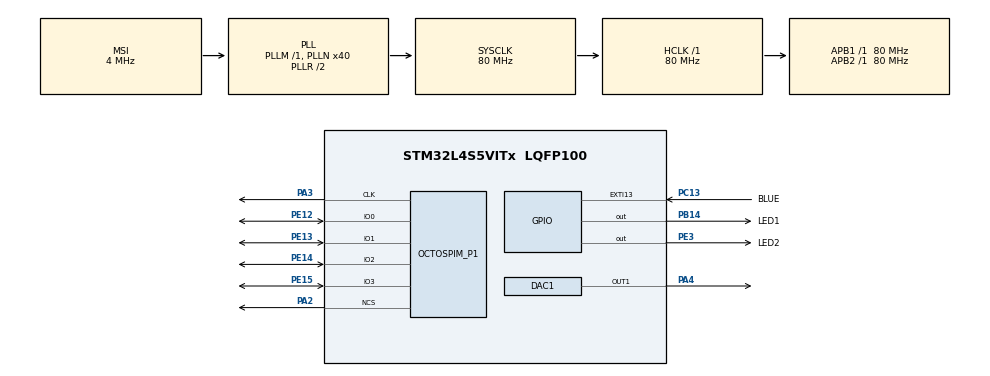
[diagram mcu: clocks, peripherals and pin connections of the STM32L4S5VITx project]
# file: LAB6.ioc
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DAC1.DAC_Trigger-DAC_OUT1=DAC_TRIGGER_T2_TRGO
Dma.DAC1_CH1.0.Direction=DMA_MEMORY_TO_PERIPH
Dma.DAC1_CH1.0.EventEnable=DISABLE
Dma.DAC1_CH1.0.Instance=DMA1_Channel1
Dma.DAC1_CH1.0.MemDataAlignment=DMA_MDATAALIGN_BYTE
Dma.DAC1_CH1.0.MemInc=DMA_MINC_ENABLE
Dma.DAC1_CH1.0.Mode=DMA_NORMAL
Dma.DAC1_CH1.0.PeriphDataAlignment=DMA_PDATAALIGN_BYTE
Dma.DAC1_CH1.0.PeriphInc=DMA_PINC_DISABLE
Dma.DAC1_CH1.0.Polarity=HAL_DMAMUX_REQUEST_GEN_RISING
Dma.DAC1_CH1.0.Priority=DMA_PRIORITY_LOW
Dma.DAC1_CH1.0.RequestNumber=1
Dma.DAC1_CH1.0.SignalID=NONE
Dma.DAC1_CH1.0.SyncEnable=DISABLE
Dma.DAC1_CH1.0.SyncPolarity=HAL_DMAMUX_SYNC_NO_EVENT
Dma.DAC1_CH1.0.SyncRequestNumber=1
Dma.DAC1_CH1.0.SyncSignalID=NONE
Dma.Request0=DAC1_CH1
Mcu.Family=STM32L4
Mcu.Name=STM32L4S5VITx
Mcu.Package=LQFP100
NVIC.DMA1_Channel1_IRQn=true\:0\:0\:false\:false\:true\:false\:true\:true
NVIC.EXTI15_10_IRQn=true\:0\:0\:false\:false\:true\:true\:true\:true
NVIC.PriorityGroup=NVIC_PRIORITYGROUP_4
NVIC.TIM2_IRQn=true\:0\:0\:false\:false\:true\:true\:true\:true
OCTOSPI1.MemoryType=HAL_OSPI_MEMTYPE_MACRONIX
PA13\ (JTMS/SWDIO).Signal=SYS_JTMS-SWDIO
PA2.Mode=OCTOSPI1_Port1_NCS
PA2.Signal=OCTOSPIM_P1_NCS
PA3.Mode=O1_P1_CLK
PA3.Signal=OCTOSPIM_P1_CLK
PA4.Signal=COMP_DAC11_group
PB14.GPIO_Label=LED1
PB14.Signal=GPIO_Output
PB3\ (JTDO/TRACESWO).Signal=SYS_JTDO-SWO
PC13.GPIO_Label=BLUE
PC13.Signal=GPXTI13
PE12.Mode=OCTOSPI1_IOL_Port1L
PE12.Signal=OCTOSPIM_P1_IO0
PE13.Mode=OCTOSPI1_IOL_Port1L
PE13.Signal=OCTOSPIM_P1_IO1
PE14.Mode=OCTOSPI1_IOL_Port1L
PE14.Signal=OCTOSPIM_P1_IO2
PE15.Mode=OCTOSPI1_IOL_Port1L
PE15.Signal=OCTOSPIM_P1_IO3
PE3.GPIO_Label=LED2
PE3.Signal=GPIO_Output
ProjectManager.HeapSize=0x200
ProjectManager.StackSize=0x400
ProjectManager.TargetToolchain=STM32CubeIDE
RCC.ADCFreq_Value=48000000
RCC.AHBFreq_Value=80000000
RCC.APB1Freq_Value=80000000
RCC.APB1TimFreq_Value=80000000
RCC.APB2Freq_Value=80000000
RCC.APB2TimFreq_Value=80000000
RCC.CortexFreq_Value=80000000
RCC.HCLKFreq_Value=80000000
RCC.HSE_VALUE=8000000
RCC.HSI48_VALUE=48000000
RCC.HSI_VALUE=16000000
RCC.LSE_VALUE=32768
RCC.MSI_VALUE=4000000
RCC.PLLN=40
RCC.PLLSAI1N=24
RCC.SYSCLKFreq_VALUE=80000000
RCC.SYSCLKSource=RCC_SYSCLKSOURCE_PLLCLK
RCC.USBFreq_Value=48000000
RCC.VCOOutputFreq_Value=160000000
SH.COMP_DAC11_group.0=DAC1_OUT1,DAC_OUT1
TIM2.Period=1814
TIM2.Prescaler=0
TIM2.TIM_MasterOutputTrigger=TIM_TRGO_UPDATE
VP_OCTOSPI1_VS_quad.Mode=quad_mode
VP_TIM2_VS_ClockSourceINT.Mode=Internal
board=B-L4S5I-IOT01A

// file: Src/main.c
/* USER CODE BEGIN Header */
/**
  ******************************************************************************
  * @file           : main.c
  * @brief          : Main program body
  ******************************************************************************
  * @attention
  *
  * Copyright (c) 2022 STMicroelectronics.
  * All rights reserved.
  *
  * This software is licensed under terms that can be found in the LICENSE file
  * in the root directory of this software component.
  * If no LICENSE file comes with this software, it is provided AS-IS.
  *
  ******************************************************************************
  */
/* USER CODE END Header */
#include "main.h"

/* USER CODE BEGIN Includes */
#define ARM_MATH_CM4
#include "arm_math.h"
#include "stm32l4s5i_iot01_qspi.h"

/* USER CODE END Includes */

DAC_HandleTypeDef hdac1;
DMA_HandleTypeDef hdma_dac1_ch1;

OSPI_HandleTypeDef hospi1;

TIM_HandleTypeDef htim2;

void SystemClock_Config(void);
static void MX_GPIO_Init(void);
static void MX_DMA_Init(void);
static void MX_DAC1_Init(void);
static void MX_TIM2_Init(void);
static void MX_OCTOSPI1_Init(void);

/* USER CODE BEGIN 0 */
void HAL_GPIO_EXTI_Callback (uint16_t GPIO_Pin);
// void HAL_TIM_PeriodElapsedCallback (TIM_HandleTypeDef * htim);

uint8_t arrayOne[33000]; // 2kHZ 22
float arrayOneRad = 0;

uint8_t arrayTwo[33000]; // 1kHz 44
float arrayTwoRad = 0;

uint8_t arrayThree[33000]; // 1.5 kHz 30
float arrayThreeRad = 0;

uint8_t arrayFour[33000]; // 3kHZ 15
float arrayFourRad = 0;

uint8_t arrayFive[33000]; // 5kHz 9
float arrayFiveRad = 0;

int callbackCounter = 0;

int memoryOffset = 65000;

uint32_t flash_address = 0x08020800;
uint8_t writeData[8];
uint8_t readArrayOne[33000];
uint8_t readArrayTwo[33000];
uint8_t readArrayThree[33000];
uint8_t readArrayFour[33000];
uint8_t readArrayFive[33000];

uint8_t* readBuffer;

/* USER CODE END 0 */

int main(void)
{

  /* MCU Configuration--------------------------------------------------------*/

  /* Reset of all peripherals, Initializes the Flash interface and the Systick. */
  HAL_Init();

  /* USER CODE BEGIN Init */

  //HAL_GPIO_EXTI_Callback (BLUE_Pin);			// WORKS WITHOUT CALLING

  /* USER CODE END Init */

  /* Configure the system clock */
  SystemClock_Config();

  /* Initialize all configured peripherals */
  MX_GPIO_Init();
  MX_DMA_Init();
  MX_DAC1_Init();
  MX_TIM2_Init();
  MX_OCTOSPI1_Init();
  /* USER CODE BEGIN 2 */

  BSP_QSPI_Init();

  // Start timer
  HAL_TIM_Base_Start_IT(&htim2);
  //HAL_DAC_Start(&hdac1,DAC_CHANNEL_1);

  //HAL_DAC_Start_DMA(&hdac1, DAC_CHANNEL_1, (uint32_t*)arrayOne, 8, DAC_ALIGN_8B_R);

  //HAL_TIM_Base_Start(&htim2);
  //HAL_TIM_Base_Start_DMA(&htim2, (uint32_t*)arrayOne, 32);
  //HAL_DAC_Start_DMA(&hdac1, DAC_CHANNEL_1, (uint32_t*)arrayOne, 22, DAC_ALIGN_12B_R);

  /* USER CODE END 2 */

  /* Infinite loop */
  while (1)
  {

  }
}

void SystemClock_Config(void)
{
  RCC_OscInitTypeDef RCC_OscInitStruct = {0};
  RCC_ClkInitTypeDef RCC_ClkInitStruct = {0};

  /** Configure the main internal regulator output voltage
  */
  if (HAL_PWREx_ControlVoltageScaling(PWR_REGULATOR_VOLTAGE_SCALE1) != HAL_OK)
  {
    Error_Handler();
  }

  /** Initializes the RCC Oscillators according to the specified parameters
  * in the RCC_OscInitTypeDef structure.
  */
  RCC_OscInitStruct.OscillatorType = RCC_OSCILLATORTYPE_MSI;
  RCC_OscInitStruct.MSIState = RCC_MSI_ON;
  RCC_OscInitStruct.MSICalibrationValue = 0;
  RCC_OscInitStruct.MSIClockRange = RCC_MSIRANGE_6;
  RCC_OscInitStruct.PLL.PLLState = RCC_PLL_ON;
  RCC_OscInitStruct.PLL.PLLSource = RCC_PLLSOURCE_MSI;
  RCC_OscInitStruct.PLL.PLLM = 1;
  RCC_OscInitStruct.PLL.PLLN = 40;
  RCC_OscInitStruct.PLL.PLLP = RCC_PLLP_DIV2;
  RCC_OscInitStruct.PLL.PLLQ = RCC_PLLQ_DIV2;
  RCC_OscInitStruct.PLL.PLLR = RCC_PLLR_DIV2;
  if (HAL_RCC_OscConfig(&RCC_OscInitStruct) != HAL_OK)
  {
    Error_Handler();
  }

  /** Initializes the CPU, AHB and APB buses clocks
  */
  RCC_ClkInitStruct.ClockType = RCC_CLOCKTYPE_HCLK|RCC_CLOCKTYPE_SYSCLK
                              |RCC_CLOCKTYPE_PCLK1|RCC_CLOCKTYPE_PCLK2;
  RCC_ClkInitStruct.SYSCLKSource = RCC_SYSCLKSOURCE_PLLCLK;
  RCC_ClkInitStruct.AHBCLKDivider = RCC_SYSCLK_DIV1;
  RCC_ClkInitStruct.APB1CLKDivider = RCC_HCLK_DIV1;
  RCC_ClkInitStruct.APB2CLKDivider = RCC_HCLK_DIV1;

  if (HAL_RCC_ClockConfig(&RCC_ClkInitStruct, FLASH_LATENCY_3) != HAL_OK)
  {
    Error_Handler();
  }
}

static void MX_DAC1_Init(void)
{

  DAC_ChannelConfTypeDef sConfig = {0};

  /** DAC Initialization
  */
  hdac1.Instance = DAC1;
  if (HAL_DAC_Init(&hdac1) != HAL_OK)
  {
    Error_Handler();
  }

  /** DAC channel OUT1 config
  */
  sConfig.DAC_SampleAndHold = DAC_SAMPLEANDHOLD_DISABLE;
  sConfig.DAC_Trigger = DAC_TRIGGER_T2_TRGO;
  sConfig.DAC_HighFrequency = DAC_HIGH_FREQUENCY_INTERFACE_MODE_ABOVE_80MHZ;
  sConfig.DAC_OutputBuffer = DAC_OUTPUTBUFFER_ENABLE;
  sConfig.DAC_ConnectOnChipPeripheral = DAC_CHIPCONNECT_DISABLE;
  sConfig.DAC_UserTrimming = DAC_TRIMMING_FACTORY;
  if (HAL_DAC_ConfigChannel(&hdac1, &sConfig, DAC_CHANNEL_1) != HAL_OK)
  {
    Error_Handler();
  }

}

static void MX_OCTOSPI1_Init(void)
{

  OSPIM_CfgTypeDef OSPIM_Cfg_Struct = {0};

  /* OCTOSPI1 parameter configuration*/
  hospi1.Instance = OCTOSPI1;
  hospi1.Init.FifoThreshold = 1;
  hospi1.Init.DualQuad = HAL_OSPI_DUALQUAD_DISABLE;
  hospi1.Init.MemoryType = HAL_OSPI_MEMTYPE_MACRONIX;
  hospi1.Init.DeviceSize = 32;
  hospi1.Init.ChipSelectHighTime = 1;
  hospi1.Init.FreeRunningClock = HAL_OSPI_FREERUNCLK_DISABLE;
  hospi1.Init.ClockMode = HAL_OSPI_CLOCK_MODE_0;
  hospi1.Init.ClockPrescaler = 1;
  hospi1.Init.SampleShifting = HAL_OSPI_SAMPLE_SHIFTING_NONE;
  hospi1.Init.DelayHoldQuarterCycle = HAL_OSPI_DHQC_DISABLE;
  hospi1.Init.ChipSelectBoundary = 0;
  hospi1.Init.DelayBlockBypass = HAL_OSPI_DELAY_BLOCK_BYPASSED;
  if (HAL_OSPI_Init(&hospi1) != HAL_OK)
  {
    Error_Handler();
  }
  OSPIM_Cfg_Struct.ClkPort = 1;
  OSPIM_Cfg_Struct.NCSPort = 1;
  OSPIM_Cfg_Struct.IOLowPort = HAL_OSPIM_IOPORT_1_LOW;
  if (HAL_OSPIM_Config(&hospi1, &OSPIM_Cfg_Struct, HAL_OSPI_TIMEOUT_DEFAULT_VALUE) != HAL_OK)
  {
    Error_Handler();
  }

}

static void MX_TIM2_Init(void)
{

  TIM_ClockConfigTypeDef sClockSourceConfig = {0};
  TIM_MasterConfigTypeDef sMasterConfig = {0};

  htim2.Instance = TIM2;
  htim2.Init.Prescaler = 0;
  htim2.Init.CounterMode = TIM_COUNTERMODE_UP;
  htim2.Init.Period = 1814;
  htim2.Init.ClockDivision = TIM_CLOCKDIVISION_DIV1;
  htim2.Init.AutoReloadPreload = TIM_AUTORELOAD_PRELOAD_DISABLE;
  if (HAL_TIM_Base_Init(&htim2) != HAL_OK)
  {
    Error_Handler();
  }
  sClockSourceConfig.ClockSource = TIM_CLOCKSOURCE_INTERNAL;
  if (HAL_TIM_ConfigClockSource(&htim2, &sClockSourceConfig) != HAL_OK)
  {
    Error_Handler();
  }
  sMasterConfig.MasterOutputTrigger = TIM_TRGO_UPDATE;
  sMasterConfig.MasterSlaveMode = TIM_MASTERSLAVEMODE_DISABLE;
  if (HAL_TIMEx_MasterConfigSynchronization(&htim2, &sMasterConfig) != HAL_OK)
  {
    Error_Handler();
  }

}

static void MX_DMA_Init(void)
{

  /* DMA controller clock enable */
  __HAL_RCC_DMAMUX1_CLK_ENABLE();
  __HAL_RCC_DMA1_CLK_ENABLE();

  /* DMA interrupt init */
  /* DMA1_Channel1_IRQn interrupt configuration */
  HAL_NVIC_SetPriority(DMA1_Channel1_IRQn, 0, 0);
  HAL_NVIC_EnableIRQ(DMA1_Channel1_IRQn);

}

static void MX_GPIO_Init(void)
{
  GPIO_InitTypeDef GPIO_InitStruct = {0};

  /* GPIO Ports Clock Enable */
  __HAL_RCC_GPIOE_CLK_ENABLE();
  __HAL_RCC_GPIOC_CLK_ENABLE();
  __HAL_RCC_GPIOA_CLK_ENABLE();
  __HAL_RCC_GPIOB_CLK_ENABLE();

  /*Configure GPIO pin Output Level */
  HAL_GPIO_WritePin(LED2_GPIO_Port, LED2_Pin, GPIO_PIN_RESET);

  /*Configure GPIO pin Output Level */
  HAL_GPIO_WritePin(LED1_GPIO_Port, LED1_Pin, GPIO_PIN_RESET);

  /*Configure GPIO pin : LED2_Pin */
  GPIO_InitStruct.Pin = LED2_Pin;
  GPIO_InitStruct.Mode = GPIO_MODE_OUTPUT_PP;
  GPIO_InitStruct.Pull = GPIO_NOPULL;
  GPIO_InitStruct.Speed = GPIO_SPEED_FREQ_LOW;
  HAL_GPIO_Init(LED2_GPIO_Port, &GPIO_InitStruct);

  /*Configure GPIO pin : BLUE_Pin */
  GPIO_InitStruct.Pin = BLUE_Pin;
  GPIO_InitStruct.Mode = GPIO_MODE_IT_RISING;
  GPIO_InitStruct.Pull = GPIO_NOPULL;
  HAL_GPIO_Init(BLUE_GPIO_Port, &GPIO_InitStruct);

  /*Configure GPIO pin : LED1_Pin */
  GPIO_InitStruct.Pin = LED1_Pin;
  GPIO_InitStruct.Mode = GPIO_MODE_OUTPUT_PP;
  GPIO_InitStruct.Pull = GPIO_NOPULL;
  GPIO_InitStruct.Speed = GPIO_SPEED_FREQ_LOW;
  HAL_GPIO_Init(LED1_GPIO_Port, &GPIO_InitStruct);

  /* EXTI interrupt init*/
  HAL_NVIC_SetPriority(EXTI15_10_IRQn, 0, 0);
  HAL_NVIC_EnableIRQ(EXTI15_10_IRQn);

}

/* USER CODE BEGIN 4 */

void HAL_GPIO_EXTI_Callback (uint16_t GPIO_Pin) {

	if(GPIO_Pin == BLUE_Pin) {

		for (int i = 0; i < 33000 ; i++){

			if(arrayOneRad > 6.284) {
				arrayOneRad = 0;
			}
			uint8_t conv = (uint8_t)((arm_sin_f32(arrayOneRad) * 127) + 127);
			arrayOne[i] = conv;
			arrayOneRad += 0.286;
			//indexCounterOne++;
		}
		if(BSP_QSPI_Erase_Block(0) == QSPI_OK) {		// 0 0xD8 65000 130000 195000 260000 work
			if(BSP_QSPI_Write(&arrayOne, 0, 33000) != QSPI_OK) {
				Error_Handler();
			}
			int i = 0;
		} else {
			Error_Handler();
		}

		for (int i = 0; i < 33000 ; i++){
			if(arrayTwoRad > 6.284) {
				arrayTwoRad = 0;
			}
			uint8_t conv = (uint8_t)((arm_sin_f32(arrayTwoRad) * 127) + 127);
			arrayTwo[i] = conv;
			arrayTwoRad += 0.143;
			//indexCounterOne++;
		}
		if(BSP_QSPI_Erase_Block(65537) == QSPI_OK) {		// 0 0xD8 65000 130000 195000 260000 work
			if(BSP_QSPI_Write(&arrayTwo, 65537, 33000) != QSPI_OK) {
				Error_Handler();
			}
		} else {
			Error_Handler();
		}

		for (int i = 0; i < 33000 ; i++){
			if(arrayThreeRad > 6.284) {
				arrayThreeRad = 0;
			}
			uint8_t conv = (uint8_t)((arm_sin_f32(arrayThreeRad) * 127) + 127);
			arrayThree[i] = conv;
			arrayThreeRad += 0.209;
			//indexCounterOne++;
		}
		if(BSP_QSPI_Erase_Block(131074) == QSPI_OK) {		// 0 0xD8 65000 130000 195000 260000 work
			if(BSP_QSPI_Write(&arrayThree, 131074, 33000) != QSPI_OK) {
				Error_Handler();
			}
		} else {
			Error_Handler();
		}

		for (int i = 0; i < 33000 ; i++){
			if(arrayFourRad > 6.284) {
				arrayFourRad = 0;
			}
			uint8_t conv = (uint8_t)((arm_sin_f32(arrayFourRad) * 127) + 127);
			arrayFour[i] = conv;
			arrayFourRad += 0.418;
			//indexCounterOne++;
		}
		if(BSP_QSPI_Erase_Block(196610) == QSPI_OK) {		// 0 0xD8 65000 130000 195000 260000 work
			if(BSP_QSPI_Write(&arrayFour, 196610, 33000) != QSPI_OK) {
				Error_Handler();
			}
		} else {
			Error_Handler();
		}

		for (int i = 0; i < 33000 ; i++){
			if(arrayFiveRad > 6.284) {
				arrayFiveRad = 0;
			}
			uint8_t conv = (uint8_t)((arm_sin_f32(arrayFiveRad) * 127) + 127);
			arrayFive[i] = conv;
			arrayFiveRad += 0.698;
			//indexCounterOne++;
		}
		if(BSP_QSPI_Erase_Block(262146) == QSPI_OK) {		// 0 0xD8 65000 130000 195000 260000 work
			if(BSP_QSPI_Write(&arrayFive, 262146, 33000) != QSPI_OK) {
				Error_Handler();
			}
		} else {
			Error_Handler();
		}

		// LIGHTTTTTTTTTTTTTTTTTTTTTTTTTTTTTTTTTTTTTTTTTTTTTTTTTTTTTUPPPPPPPPPPPPPPPPPPP
		if(HAL_GPIO_ReadPin(GPIOB, LED1_Pin) == GPIO_PIN_SET) {
			HAL_GPIO_WritePin(GPIOE, LED2_Pin, GPIO_PIN_RESET);
			HAL_GPIO_WritePin(GPIOB, LED1_Pin, GPIO_PIN_RESET);
		} else {
			HAL_GPIO_WritePin(GPIOE, LED2_Pin, GPIO_PIN_SET);
			HAL_GPIO_WritePin(GPIOB, LED1_Pin, GPIO_PIN_SET);
		}

		if(BSP_QSPI_Read(&readArrayOne, 0, 33000) == QSPI_OK) {
			HAL_DAC_Start_DMA(&hdac1, DAC_CHANNEL_1, readArrayOne, 33000, DAC_ALIGN_12B_R);
			int i = 0;
			callbackCounter = 0;
		} else {
			Error_Handler();
		}
	}

}

void HAL_DAC_ConvCpltCallbackCh1 (DAC_HandleTypeDef * hdac){
	callbackCounter++;
	if(callbackCounter > 4) {
		callbackCounter = 0;
	}

	if(callbackCounter == 0) {
		readBuffer = &readArrayOne;
		memoryOffset = 0;
		if(BSP_QSPI_Read(&readArrayOne, memoryOffset, 33000) == QSPI_OK) {
			//HAL_DAC_Stop_DMA(&hdac1, DAC_CHANNEL_1);
			HAL_DAC_Start_DMA(&hdac1, DAC_CHANNEL_1, readArrayOne, 33000, DAC_ALIGN_12B_R);
			int i = 0;
		} else {
			Error_Handler();
		}
	}
	if(callbackCounter == 1) {
		readBuffer = &readArrayTwo;
		memoryOffset = 65537;

		if(BSP_QSPI_Read(&readArrayTwo, memoryOffset, 33000) == QSPI_OK) {
			//HAL_DAC_Stop_DMA(&hdac1, DAC_CHANNEL_1);
			HAL_DAC_Start_DMA(&hdac1, DAC_CHANNEL_1, readArrayTwo, 33000, DAC_ALIGN_12B_R);
			int i = 0;
		} else {
			Error_Handler();
		}
	}
	if(callbackCounter == 2) {
		readBuffer = &readArrayThree;
		memoryOffset = 131074;

		if(BSP_QSPI_Read(&readArrayThree, memoryOffset, 33000) == QSPI_OK) {
			//HAL_DAC_Stop_DMA(&hdac1, DAC_CHANNEL_1);
			HAL_DAC_Start_DMA(&hdac1, DAC_CHANNEL_1, readArrayThree, 33000, DAC_ALIGN_12B_R);
			int i = 0;
		} else {
			Error_Handler();
		}
	}
	if(callbackCounter == 3) {
		readBuffer = &readArrayFour;
		memoryOffset = 196610;

		if(BSP_QSPI_Read(&readArrayFour, memoryOffset, 33000) == QSPI_OK) {
			//HAL_DAC_Stop_DMA(&hdac1, DAC_CHANNEL_1);
			HAL_DAC_Start_DMA(&hdac1, DAC_CHANNEL_1, readArrayFour, 33000, DAC_ALIGN_12B_R);
			int i = 0;
		} else {
			Error_Handler();
		}
	}
	if(callbackCounter == 4) {
		readBuffer = &readArrayFive;
		memoryOffset = 262146;

		if(BSP_QSPI_Read(&readArrayFive, memoryOffset, 33000) == QSPI_OK) {
			//HAL_DAC_Stop_DMA(&hdac1, DAC_CHANNEL_1);
			HAL_DAC_Start_DMA(&hdac1, DAC_CHANNEL_1, readArrayFive, 33000, DAC_ALIGN_12B_R);
			int i = 0;
		} else {
			Error_Handler();
		}
	}

//	if(BSP_QSPI_Read(readBuffer, memoryOffset, 33000) == QSPI_OK) {
//		//HAL_DAC_Stop_DMA(&hdac1, DAC_CHANNEL_1);
//		HAL_DAC_Start_DMA(&hdac1, DAC_CHANNEL_1, readBuffer, 33000, DAC_ALIGN_12B_R);
//		int i = 0;
//	} else {
//		Error_Handler();
//	}

}

//void HAL_TIM_PeriodElapsedCallback (TIM_HandleTypeDef * htim) {
//	if(callbackCounter > 21) {
//		callbackCounter = 0;
//	}
//	uint8_t tone = (uint8_t) arrayOne[callbackCounter];
//	HAL_DAC_SetValue(&hdac1, DAC_CHANNEL_1, DAC_ALIGN_8B_R, tone);
//	callbackCounter++;
//
//
//}

/* USER CODE END 4 */

void Error_Handler(void)
{
  /* USER CODE BEGIN Error_Handler_Debug */
  /* User can add his own implementation to report the HAL error return state */
  __disable_irq();
  while (1)
  {
  }
  HAL_GPIO_WritePin(GPIOE, LED2_Pin, GPIO_PIN_RESET);
  HAL_GPIO_WritePin(GPIOB, LED1_Pin, GPIO_PIN_SET);
  __BKPT();
  /* USER CODE END Error_Handler_Debug */
}
